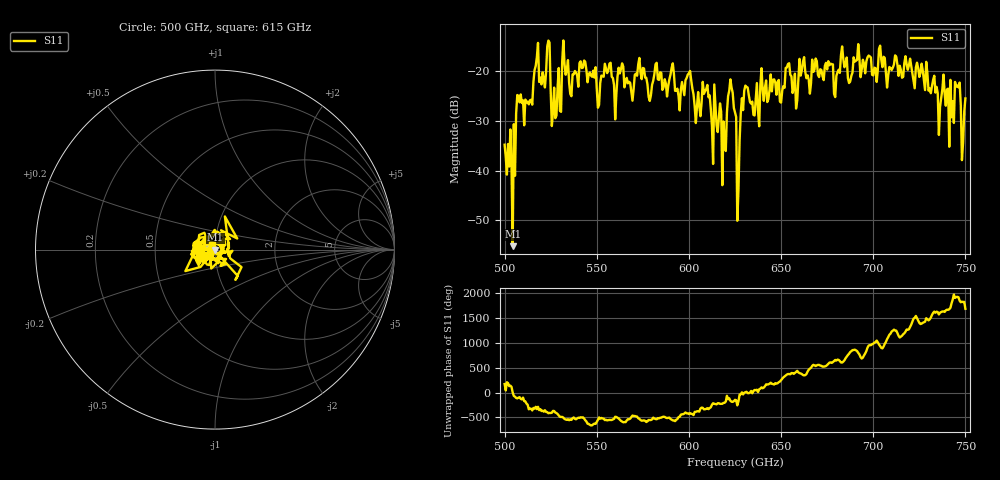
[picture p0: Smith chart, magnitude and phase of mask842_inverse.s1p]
!Created with skrf (http://scikit-rf.org).
# GHz S MA R 50.0
!freq magS11 angS11
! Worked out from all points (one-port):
!   401 points, 500 GHz to 750 GHz, reference 50 ohm
!   lowest |S11| = -55.2 dB at 504.4 GHz (marker M1), VSWR 1.00, Z = 50.2 + j0.00291 ohm
!   |S11| at or under -10 dB: start of sweep to end of sweep
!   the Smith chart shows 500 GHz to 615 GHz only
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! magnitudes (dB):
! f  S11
! 500 GHz  -34.8
! 504.4 GHz  -55.2
! 507.5 GHz  -25.0
! 513.8 GHz  -25.8
! 516.9 GHz  -19.0
! 523.8 GHz  -13.8
! 526.9 GHz  -23.3
! 531.2 GHz  -18.0
! 551.2 GHz  -26.8
! 556.2 GHz  -19.8
! 560 GHz  -29.7
! 562.5 GHz  -20.4
! 578.8 GHz  -26.0
! 590.6 GHz  -19.3
! 593.8 GHz  -23.5
! 608.8 GHz  -24.0
! 619.4 GHz  -34.2
! 622.5 GHz  -21.6
! 625 GHz  -28.3
! 627.5 GHz  -33.9
! 629.4 GHz  -27.8
! 631.2 GHz  -23.2
! 656.2 GHz  -24.4
! 680 GHz  -20.9
! 683.8 GHz  -17.5
! 687.5 GHz  -22.1
! 718.8 GHz  -19.7
! 750 GHz  -25.5
